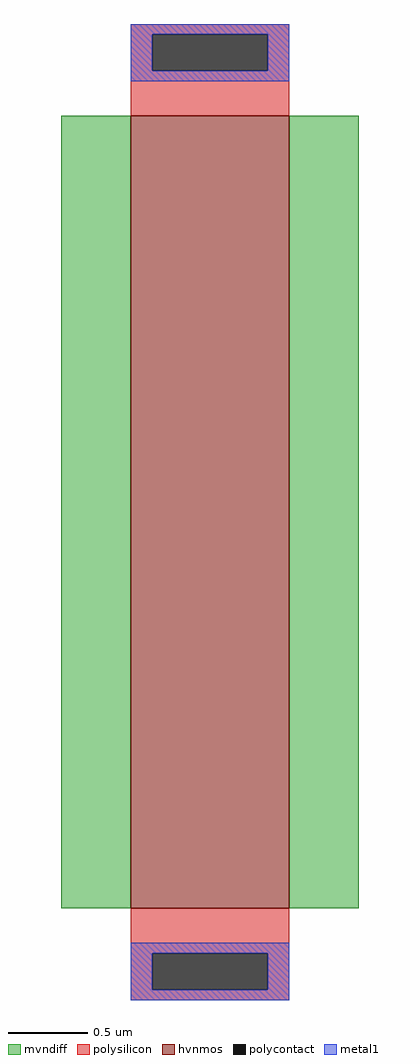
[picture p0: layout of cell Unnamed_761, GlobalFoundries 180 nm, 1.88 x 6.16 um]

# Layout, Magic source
magic
tech gf180mcuD
magscale 1 10
<< hvnmos >>
rect 14 0 214 1000
<< mvndiff >>
rect -74 0 14 1000
rect 214 0 302 1000
<< polysilicon >>
rect 14 1103 214 1116
rect 14 1057 41 1103
rect 187 1057 214 1103
rect 14 1000 214 1057
rect 14 -57 214 0
rect 14 -103 41 -57
rect 187 -103 214 -57
rect 14 -116 214 -103
<< polycontact >>
rect 41 1057 187 1103
rect 41 -103 187 -57
<< metal1 >>
rect 14 1103 214 1116
rect 14 1057 41 1103
rect 187 1057 214 1103
rect 14 1044 214 1057
rect 14 -57 214 -44
rect 14 -103 41 -57
rect 187 -103 214 -57
rect 14 -116 214 -103
<< end >>
